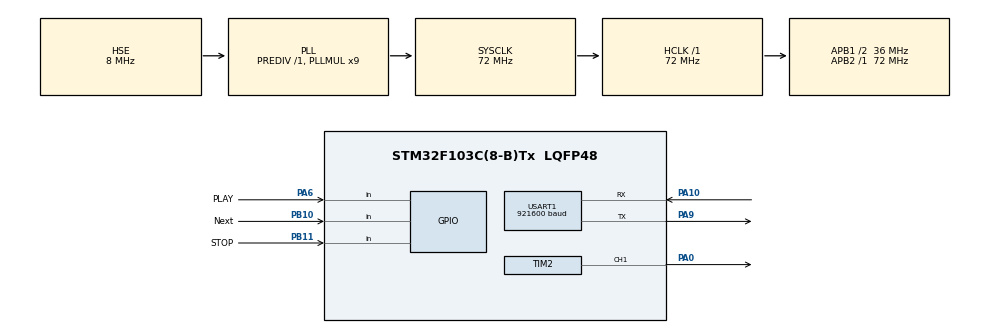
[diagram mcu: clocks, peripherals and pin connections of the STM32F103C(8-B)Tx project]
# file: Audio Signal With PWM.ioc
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Dma.Request0=USART1_RX
Dma.Request1=TIM4_CH1
Dma.TIM4_CH1.1.Direction=DMA_MEMORY_TO_PERIPH
Dma.TIM4_CH1.1.Instance=DMA1_Channel1
Dma.TIM4_CH1.1.MemDataAlignment=DMA_MDATAALIGN_BYTE
Dma.TIM4_CH1.1.MemInc=DMA_MINC_ENABLE
Dma.TIM4_CH1.1.Mode=DMA_NORMAL
Dma.TIM4_CH1.1.PeriphDataAlignment=DMA_PDATAALIGN_WORD
Dma.TIM4_CH1.1.PeriphInc=DMA_PINC_DISABLE
Dma.TIM4_CH1.1.Priority=DMA_PRIORITY_MEDIUM
Dma.USART1_RX.0.Direction=DMA_PERIPH_TO_MEMORY
Dma.USART1_RX.0.Instance=DMA1_Channel5
Dma.USART1_RX.0.MemDataAlignment=DMA_MDATAALIGN_BYTE
Dma.USART1_RX.0.MemInc=DMA_MINC_ENABLE
Dma.USART1_RX.0.Mode=DMA_NORMAL
Dma.USART1_RX.0.PeriphDataAlignment=DMA_PDATAALIGN_BYTE
Dma.USART1_RX.0.PeriphInc=DMA_PINC_DISABLE
Dma.USART1_RX.0.Priority=DMA_PRIORITY_VERY_HIGH
Mcu.Family=STM32F1
Mcu.Name=STM32F103C(8-B)Tx
Mcu.Package=LQFP48
NVIC.DMA1_Channel1_IRQn=true\:1\:0\:true\:false\:true\:false\:true
NVIC.DMA1_Channel5_IRQn=true\:0\:0\:true\:false\:true\:false\:true
NVIC.PriorityGroup=NVIC_PRIORITYGROUP_4
PA0-WKUP.Signal=S_TIM2_CH1_ETR
PA10.Mode=Asynchronous
PA10.Signal=USART1_RX
PA6.GPIO_Label=PLAY
PA6.GPIO_PuPd=GPIO_NOPULL
PA6.Signal=GPIO_Input
PA9.Mode=Asynchronous
PA9.Signal=USART1_TX
PB10.GPIO_Label=Next
PB10.Signal=GPIO_Input
PB11.GPIO_Label=STOP
PB11.GPIO_PuPd=GPIO_NOPULL
PB11.Signal=GPIO_Input
PD0-OSC_IN.Mode=HSE-External-Oscillator
PD0-OSC_IN.Signal=RCC_OSC_IN
PD1-OSC_OUT.Mode=HSE-External-Oscillator
PD1-OSC_OUT.Signal=RCC_OSC_OUT
ProjectManager.HeapSize=0x200
ProjectManager.StackSize=0x400
ProjectManager.TargetToolchain=STM32CubeIDE
RCC.AHBFreq_Value=72000000
RCC.APB1CLKDivider=RCC_HCLK_DIV2
RCC.APB1Freq_Value=36000000
RCC.APB1TimFreq_Value=72000000
RCC.APB2Freq_Value=72000000
RCC.APB2TimFreq_Value=72000000
RCC.HCLKFreq_Value=72000000
RCC.PLLMUL=RCC_PLL_MUL9
RCC.PLLSourceVirtual=RCC_PLLSOURCE_HSE
RCC.SYSCLKFreq_VALUE=72000000
RCC.SYSCLKSource=RCC_SYSCLKSOURCE_PLLCLK
RCC.USBFreq_Value=72000000
SH.S_TIM2_CH1_ETR.0=TIM2_CH1,PWM Generation1 CH1
TIM2.AutoReloadPreload=TIM_AUTORELOAD_PRELOAD_ENABLE
TIM2.Channel-PWM\ Generation1\ CH1=TIM_CHANNEL_1
TIM2.OCFastMode_PWM-PWM\ Generation1\ CH1=TIM_OCFAST_ENABLE
TIM2.Period=256-1
TIM4.AutoReloadPreload=TIM_AUTORELOAD_PRELOAD_ENABLE
TIM4.Channel-Output\ Compare1\ No\ Output=TIM_CHANNEL_1
TIM4.Period=166-1
TIM4.Prescaler=9-1
USART1.BaudRate=921600
USART1.VirtualMode=VM_ASYNC
VP_SYS_VS_ND.Mode=No_Debug
VP_TIM2_VS_ClockSourceINT.Mode=Internal
VP_TIM4_VS_ClockSourceINT.Mode=Internal
VP_TIM4_VS_no_output1.Mode=Output Compare1 No Output
board=custom

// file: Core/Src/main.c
/* USER CODE BEGIN Header */
/**
 ******************************************************************************
 * @file           : main.c
 * @brief          : Main program body
 ******************************************************************************
 * @attention
 *
 * <h2><center>&copy; Copyright (c) 2021 STMicroelectronics.
 * All rights reserved.</center></h2>
 *
 * This software component is licensed by ST under BSD 3-Clause license,
 * the "License"; You may not use this file except in compliance with the
 * License. You may obtain a copy of the License at:
 *                        opensource.org/licenses/BSD-3-Clause
 *
 ******************************************************************************
 */
/* USER CODE END Header */
#include "main.h"

/* USER CODE BEGIN Includes */
#include "Melody.h"
#include <stdio.h>
/* USER CODE END Includes */

/* USER CODE BEGIN PTD */
/*
 *https://ccrma.stanford.edu/courses/422-winter-2014/projects/WaveFormat/
Offset  Size  Name             Description

The canonical WAVE format starts with the RIFF header:

0         4   ChunkID          Contains the letters "RIFF" in ASCII form
                               (0x52494646 big-endian form).
4         4   ChunkSize        36 + SubChunk2Size, or more precisely:
                               4 + (8 + SubChunk1Size) + (8 + SubChunk2Size)
                               This is the size of the rest of the chunk
                               following this number.  This is the size of the
                               entire file in bytes minus 8 bytes for the
                               two fields not included in this count:
                               ChunkID and ChunkSize.
8         4   Format           Contains the letters "WAVE"
                               (0x57415645 big-endian form).

The "WAVE" format consists of two subchunks: "fmt " and "data":
The "fmt " subchunk describes the sound data's format:

12        4   Subchunk1ID      Contains the letters "fmt "
                               (0x666d7420 big-endian form).
16        4   Subchunk1Size    16 for PCM.  This is the size of the
                               rest of the Subchunk which follows this number.
20        2   AudioFormat      PCM = 1 (i.e. Linear quantization)
                               Values other than 1 indicate some
                               form of compression.
22        2   NumChannels      Mono = 1, Stereo = 2, etc.
24        4   SampleRate       8000, 44100, etc.
28        4   ByteRate         == SampleRate * NumChannels * BitsPerSample/8
32        2   BlockAlign       == NumChannels * BitsPerSample/8
                               The number of bytes for one sample including
                               all channels. I wonder what happens when
                               this number isn't an integer?
34        2   BitsPerSample    8 bits = 8, 16 bits = 16, etc.
          2   ExtraParamSize   if PCM, then doesn't exist
          X   ExtraParams      space for extra parameters

The "data" subchunk contains the size of the data and the actual sound:

36        4   Subchunk2ID      Contains the letters "data"
                               (0x64617461 big-endian form).
40        4   Subchunk2Size    == NumSamples * NumChannels * BitsPerSample/8
                               This is the number of bytes in the data.
                               You can also think of this as the size
                               of the read of the subchunk following this
                               number.
44        *   Data             The actual sound data.
 * */

typedef struct{
	uint8_t RIFF_ID [4]; // "riff"
	int SIZE; //
	uint8_t WAV_ID [4]; // "WAVE"
	uint8_t FMT_ID [4]; // "fmt id"
	int FMT_SZ; // fmt
	int FORMAT; //
	short CHANNELS; // Channels
	int SampleRate; // Sample per second
	int ByteRate; // Average Byte per second
	short BLOCK_SZ; // CHANNELS * (BIT>>3)
	short BitsPerSample; // BITS
	uint8_t DATA_ID [4]; // "data"
	int DATA_SZ; //

}WavHeader_typedef;

/* USER CODE END PTD */

/* USER CODE BEGIN PD */
#define BLOCK 4096
/* USER CODE END PD */

TIM_HandleTypeDef htim2;
TIM_HandleTypeDef htim4;
DMA_HandleTypeDef hdma_tim4_ch1;

UART_HandleTypeDef huart1;
DMA_HandleTypeDef hdma_usart1_rx;

/* USER CODE BEGIN PV */

volatile uint8_t fp = 1;
volatile int NumOfBLOCK = 0;
volatile uint8_t btn_flag = 1;
uint8_t Wave[2][BLOCK];
WavHeader_typedef headerInfo;

volatile uint8_t uartReciev_flag = 0;

/* USER CODE END PV */

void SystemClock_Config(void);
static void MX_GPIO_Init(void);
static void MX_DMA_Init(void);
static void MX_TIM2_Init(void);
static void MX_TIM4_Init(void);
static void MX_USART1_UART_Init(void);
/* USER CODE BEGIN PFP */

void Stop(void);
void play(void);
void pause(void);
void Next(void);
void Preview(void);
/* USER CODE END PFP */

/* USER CODE BEGIN 0 */
void MyEvent1(DMA_HandleTypeDef *_hdma){

	/*if((int)(headerInfo.DATA_SZ/4096) <= (int)(++NumOfBLOCK))
	{
		//Stop();
	}

	else{*/
		fp = 1-fp;

		HAL_UART_Receive_DMA(&huart1, Wave[fp], BLOCK);
		HAL_UART_Transmit(&huart1, (uint8_t *)"A", 1, 100);

		HAL_DMA_Abort(&hdma_tim4_ch1);
		HAL_DMA_Start_IT(&hdma_tim4_ch1, (uint32_t)Wave[1-fp], (uint32_t) &(TIM2->CCR1), BLOCK);
	//}

}

void Stop(void){
	btn_flag=1;
	HAL_UART_Transmit(&huart1, (uint8_t *)"C", 1, 100);
	NumOfBLOCK=0;

	HAL_Delay(100);

	for(int x=0 ;x<BLOCK ;x++){
		Wave[0][x] = Wave[1][x] = 128; // bitRate/2
	}

	TIM_CCxChannelCmd(TIM2, TIM_CHANNEL_1, TIM_CCx_DISABLE);
	HAL_DMA_Abort(&hdma_tim4_ch1);

}

void play(void){

	/**************************get WavHeader Info*******************/
	if(NumOfBLOCK == 0)
	{
		HAL_UART_Receive_DMA(&huart1, Wave[0], 45);
		HAL_UART_Transmit(&huart1, (uint8_t *)"B", 1, 10);

		HAL_Delay(100);

		headerInfo.RIFF_ID[0] = Wave[0][0];
		headerInfo.RIFF_ID[1] = Wave[0][1];
		headerInfo.RIFF_ID[2] = Wave[0][2];
		headerInfo.RIFF_ID[3] = Wave[0][3];

		//...

		headerInfo.SampleRate = (Wave[0][24])+
				((Wave[0][25]) << 8) +
				((Wave[0][26]) << 16) +
				((Wave[0][27]) << 24) ;

		//...

		headerInfo.DATA_SZ = (Wave[0][40])+
				((Wave[0][41]) << 8) +
				((Wave[0][42]) << 16) +
				((Wave[0][43]) << 24) ;

		if(headerInfo.SampleRate == 8000) {
			TIM4->PSC = 72-1;
			TIM4->ARR = 125-1;
		}
		else if(headerInfo.SampleRate == 16000) {
			TIM4->PSC = 36-1;
			TIM4->ARR = 125-1;
		}
		if(headerInfo.SampleRate == 44100){
			TIM4->PSC = 9-1;
			TIM4->ARR = 181-1;
		}
		else if(headerInfo.SampleRate == 48000) {
			TIM4->PSC = 9-1;
			TIM4->ARR = 166-1;
		}
	}
	/*******************************End******************************/

	/*****************************get data***************************/
	if(NumOfBLOCK == 0)
	{
		HAL_UART_Receive_DMA(&huart1, Wave[0], BLOCK);
		HAL_UART_Transmit(&huart1, (uint8_t *)"A", 1, 10);

		HAL_Delay(100);
	}
	fp = 1-fp;

	HAL_UART_Receive_DMA(&huart1, Wave[fp], BLOCK);
	HAL_UART_Transmit(&huart1, (uint8_t *)"A", 1, 10);

	/**************************convert data to PWM*******************/
	TIM_CCxChannelCmd(TIM2, TIM_CHANNEL_1, TIM_CCx_ENABLE);
	HAL_DMA_Start_IT(&hdma_tim4_ch1, (uint32_t)Wave[1-fp], (uint32_t) &(TIM2->CCR1), BLOCK);

}

void pause(void){

	TIM_CCxChannelCmd(TIM2, TIM_CHANNEL_1, TIM_CCx_DISABLE);
	HAL_DMA_Abort(&hdma_tim4_ch1);
}

void Next(void){
	btn_flag=1;
	HAL_UART_Transmit(&huart1, (uint8_t *)"N", 1, 100);
	NumOfBLOCK=0;

	HAL_Delay(100);

	for(int x=0 ;x<BLOCK ;x++){
		Wave[0][x] = Wave[1][x] = 128; // bitRate/2
	}

	TIM_CCxChannelCmd(TIM2, TIM_CHANNEL_1, TIM_CCx_DISABLE);
	HAL_DMA_Abort(&hdma_tim4_ch1);

	play();
}

void Preview(void){
	btn_flag=1;
	HAL_UART_Transmit(&huart1, (uint8_t *)"P", 1, 100);
	NumOfBLOCK=0;

	HAL_Delay(100);

	for(int x=0 ;x<BLOCK ;x++){
		Wave[0][x] = Wave[1][x] = 128; // bitRate/2
	}

	TIM_CCxChannelCmd(TIM2, TIM_CHANNEL_1, TIM_CCx_DISABLE);
	HAL_DMA_Abort(&hdma_tim4_ch1);

	play();
}

/* USER CODE END 0 */

int main(void)
{

  /* MCU Configuration--------------------------------------------------------*/

  /* Reset of all peripherals, Initializes the Flash interface and the Systick. */
  HAL_Init();

  /* Configure the system clock */
  SystemClock_Config();

  /* Initialize all configured peripherals */
  MX_GPIO_Init();
  MX_DMA_Init();
  MX_TIM2_Init();
  MX_TIM4_Init();
  MX_USART1_UART_Init();
  /* USER CODE BEGIN 2 */

	//Mono
	HAL_TIM_PWM_Start(&htim2,TIM_CHANNEL_1);

	//just set before HAL_DMA_Start_IT function
	HAL_DMA_RegisterCallback(&hdma_tim4_ch1, HAL_DMA_XFER_CPLT_CB_ID, &MyEvent1);

	HAL_TIM_OC_Start(&htim4, TIM_CHANNEL_1);
	__HAL_TIM_ENABLE_DMA(&htim4, TIM_DMA_CC1);

  /* USER CODE END 2 */

  /* Infinite loop */
  /* USER CODE BEGIN WHILE */
	while (1)
	{

		//press Next button => Next
		if (HAL_GPIO_ReadPin(Next_GPIO_Port, Next_Pin) == GPIO_PIN_RESET) {

			Next();

			HAL_Delay(200);
		}

		//press STOP button => STOP
		if (HAL_GPIO_ReadPin(STOP_GPIO_Port, STOP_Pin) == GPIO_PIN_RESET) {

			Stop();

			HAL_Delay(200);
		}

		//press Play/Pause button => Play
		if (HAL_GPIO_ReadPin(PLAY_GPIO_Port, PLAY_Pin) == GPIO_PIN_RESET && btn_flag == 1) {

			btn_flag = 2;
			play();

			HAL_Delay(200);
		}

		//press Play/Pause button => Pause
		if(HAL_GPIO_ReadPin(PLAY_GPIO_Port, PLAY_Pin) == GPIO_PIN_RESET && btn_flag == 3){

			btn_flag = 4;
			pause();

			HAL_Delay(200);
		}

		//release Play/Pause button
		if (HAL_GPIO_ReadPin(PLAY_GPIO_Port, PLAY_Pin) == GPIO_PIN_SET && (btn_flag == 2 || btn_flag == 4)){

			//now play
			if(btn_flag == 2)
				btn_flag = 3;
			//now pause
			else if(btn_flag == 4)
				btn_flag = 1;

			HAL_Delay(200);

		}

		//Low Vol button
		/*if(){

		}*/

    /* USER CODE END WHILE */

	}
}

void SystemClock_Config(void)
{
  RCC_OscInitTypeDef RCC_OscInitStruct = {0};
  RCC_ClkInitTypeDef RCC_ClkInitStruct = {0};

  /** Initializes the RCC Oscillators according to the specified parameters
  * in the RCC_OscInitTypeDef structure.
  */
  RCC_OscInitStruct.OscillatorType = RCC_OSCILLATORTYPE_HSE;
  RCC_OscInitStruct.HSEState = RCC_HSE_ON;
  RCC_OscInitStruct.HSEPredivValue = RCC_HSE_PREDIV_DIV1;
  RCC_OscInitStruct.HSIState = RCC_HSI_ON;
  RCC_OscInitStruct.PLL.PLLState = RCC_PLL_ON;
  RCC_OscInitStruct.PLL.PLLSource = RCC_PLLSOURCE_HSE;
  RCC_OscInitStruct.PLL.PLLMUL = RCC_PLL_MUL9;
  if (HAL_RCC_OscConfig(&RCC_OscInitStruct) != HAL_OK)
  {
    Error_Handler();
  }
  /** Initializes the CPU, AHB and APB buses clocks
  */
  RCC_ClkInitStruct.ClockType = RCC_CLOCKTYPE_HCLK|RCC_CLOCKTYPE_SYSCLK
                              |RCC_CLOCKTYPE_PCLK1|RCC_CLOCKTYPE_PCLK2;
  RCC_ClkInitStruct.SYSCLKSource = RCC_SYSCLKSOURCE_PLLCLK;
  RCC_ClkInitStruct.AHBCLKDivider = RCC_SYSCLK_DIV1;
  RCC_ClkInitStruct.APB1CLKDivider = RCC_HCLK_DIV2;
  RCC_ClkInitStruct.APB2CLKDivider = RCC_HCLK_DIV1;

  if (HAL_RCC_ClockConfig(&RCC_ClkInitStruct, FLASH_LATENCY_2) != HAL_OK)
  {
    Error_Handler();
  }
}

static void MX_TIM2_Init(void)
{

  TIM_ClockConfigTypeDef sClockSourceConfig = {0};
  TIM_MasterConfigTypeDef sMasterConfig = {0};
  TIM_OC_InitTypeDef sConfigOC = {0};

  htim2.Instance = TIM2;
  htim2.Init.Prescaler = 0;
  htim2.Init.CounterMode = TIM_COUNTERMODE_UP;
  htim2.Init.Period = 256-1;
  htim2.Init.ClockDivision = TIM_CLOCKDIVISION_DIV1;
  htim2.Init.AutoReloadPreload = TIM_AUTORELOAD_PRELOAD_ENABLE;
  if (HAL_TIM_Base_Init(&htim2) != HAL_OK)
  {
    Error_Handler();
  }
  sClockSourceConfig.ClockSource = TIM_CLOCKSOURCE_INTERNAL;
  if (HAL_TIM_ConfigClockSource(&htim2, &sClockSourceConfig) != HAL_OK)
  {
    Error_Handler();
  }
  if (HAL_TIM_PWM_Init(&htim2) != HAL_OK)
  {
    Error_Handler();
  }
  sMasterConfig.MasterOutputTrigger = TIM_TRGO_RESET;
  sMasterConfig.MasterSlaveMode = TIM_MASTERSLAVEMODE_DISABLE;
  if (HAL_TIMEx_MasterConfigSynchronization(&htim2, &sMasterConfig) != HAL_OK)
  {
    Error_Handler();
  }
  sConfigOC.OCMode = TIM_OCMODE_PWM1;
  sConfigOC.Pulse = 0;
  sConfigOC.OCPolarity = TIM_OCPOLARITY_HIGH;
  sConfigOC.OCFastMode = TIM_OCFAST_ENABLE;
  if (HAL_TIM_PWM_ConfigChannel(&htim2, &sConfigOC, TIM_CHANNEL_1) != HAL_OK)
  {
    Error_Handler();
  }
  HAL_TIM_MspPostInit(&htim2);

}

static void MX_TIM4_Init(void)
{

  TIM_ClockConfigTypeDef sClockSourceConfig = {0};
  TIM_MasterConfigTypeDef sMasterConfig = {0};
  TIM_OC_InitTypeDef sConfigOC = {0};

  htim4.Instance = TIM4;
  htim4.Init.Prescaler = 9-1;
  htim4.Init.CounterMode = TIM_COUNTERMODE_UP;
  htim4.Init.Period = 166-1;
  htim4.Init.ClockDivision = TIM_CLOCKDIVISION_DIV1;
  htim4.Init.AutoReloadPreload = TIM_AUTORELOAD_PRELOAD_ENABLE;
  if (HAL_TIM_Base_Init(&htim4) != HAL_OK)
  {
    Error_Handler();
  }
  sClockSourceConfig.ClockSource = TIM_CLOCKSOURCE_INTERNAL;
  if (HAL_TIM_ConfigClockSource(&htim4, &sClockSourceConfig) != HAL_OK)
  {
    Error_Handler();
  }
  if (HAL_TIM_OC_Init(&htim4) != HAL_OK)
  {
    Error_Handler();
  }
  sMasterConfig.MasterOutputTrigger = TIM_TRGO_RESET;
  sMasterConfig.MasterSlaveMode = TIM_MASTERSLAVEMODE_DISABLE;
  if (HAL_TIMEx_MasterConfigSynchronization(&htim4, &sMasterConfig) != HAL_OK)
  {
    Error_Handler();
  }
  sConfigOC.OCMode = TIM_OCMODE_TIMING;
  sConfigOC.Pulse = 0;
  sConfigOC.OCPolarity = TIM_OCPOLARITY_HIGH;
  sConfigOC.OCFastMode = TIM_OCFAST_DISABLE;
  if (HAL_TIM_OC_ConfigChannel(&htim4, &sConfigOC, TIM_CHANNEL_1) != HAL_OK)
  {
    Error_Handler();
  }

}

static void MX_USART1_UART_Init(void)
{

  huart1.Instance = USART1;
  huart1.Init.BaudRate = 921600;
  huart1.Init.WordLength = UART_WORDLENGTH_8B;
  huart1.Init.StopBits = UART_STOPBITS_1;
  huart1.Init.Parity = UART_PARITY_NONE;
  huart1.Init.Mode = UART_MODE_TX_RX;
  huart1.Init.HwFlowCtl = UART_HWCONTROL_NONE;
  huart1.Init.OverSampling = UART_OVERSAMPLING_16;
  if (HAL_UART_Init(&huart1) != HAL_OK)
  {
    Error_Handler();
  }

}

static void MX_DMA_Init(void)
{

  /* DMA controller clock enable */
  __HAL_RCC_DMA1_CLK_ENABLE();

  /* DMA interrupt init */
  /* DMA1_Channel1_IRQn interrupt configuration */
  HAL_NVIC_SetPriority(DMA1_Channel1_IRQn, 1, 0);
  HAL_NVIC_EnableIRQ(DMA1_Channel1_IRQn);
  /* DMA1_Channel5_IRQn interrupt configuration */
  HAL_NVIC_SetPriority(DMA1_Channel5_IRQn, 0, 0);
  HAL_NVIC_EnableIRQ(DMA1_Channel5_IRQn);

}

static void MX_GPIO_Init(void)
{
  GPIO_InitTypeDef GPIO_InitStruct = {0};

  /* GPIO Ports Clock Enable */
  __HAL_RCC_GPIOD_CLK_ENABLE();
  __HAL_RCC_GPIOA_CLK_ENABLE();
  __HAL_RCC_GPIOB_CLK_ENABLE();

  /*Configure GPIO pin : PLAY_Pin */
  GPIO_InitStruct.Pin = PLAY_Pin;
  GPIO_InitStruct.Mode = GPIO_MODE_INPUT;
  GPIO_InitStruct.Pull = GPIO_NOPULL;
  HAL_GPIO_Init(PLAY_GPIO_Port, &GPIO_InitStruct);

  /*Configure GPIO pins : Next_Pin STOP_Pin */
  GPIO_InitStruct.Pin = Next_Pin|STOP_Pin;
  GPIO_InitStruct.Mode = GPIO_MODE_INPUT;
  GPIO_InitStruct.Pull = GPIO_NOPULL;
  HAL_GPIO_Init(GPIOB, &GPIO_InitStruct);

}

void Error_Handler(void)
{
}

/************************ (C) COPYRIGHT STMicroelectronics *****END OF FILE****/
